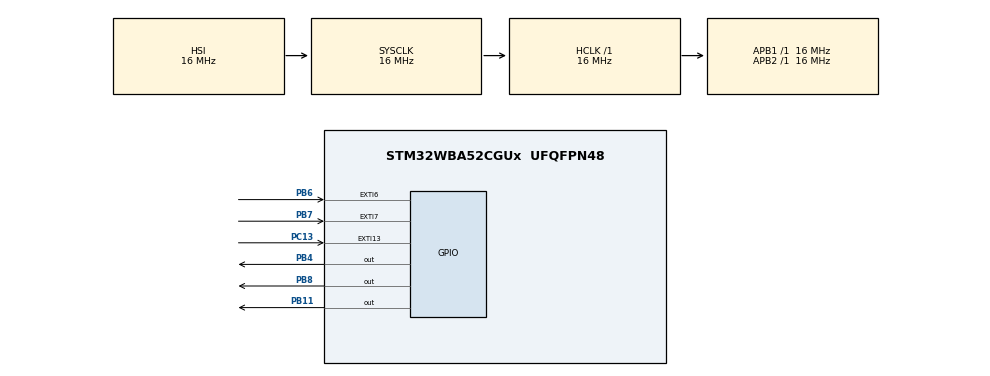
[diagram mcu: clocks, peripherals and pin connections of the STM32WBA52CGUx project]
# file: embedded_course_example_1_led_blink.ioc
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CORTEX_M33_NS.userName=CORTEX_M33
Mcu.Family=STM32WBA
Mcu.Name=STM32WBA52CGUx
Mcu.Package=UFQFPN48
NUCLEO-WBA52CG.BUTTON=1
NUCLEO-WBA52CG.BUTTON2=1
NUCLEO-WBA52CG.BUTTON3=1
NUCLEO-WBA52CG.Bsp_Common_DEMO=true
NUCLEO-WBA52CG.LD1=true
NUCLEO-WBA52CG.LD2=true
NUCLEO-WBA52CG.LD3=true
NUCLEO-WBA52CG.VCP=true
NVIC.EXTI13_IRQn=true\:0\:0\:false\:false\:true\:true\:true\:true
NVIC.EXTI6_IRQn=true\:0\:0\:false\:false\:true\:true\:true\:true
NVIC.EXTI7_IRQn=true\:0\:0\:false\:false\:true\:true\:true\:true
NVIC.PriorityGroup=NVIC_PRIORITYGROUP_4
OSC_IN.GPIO_Label=RCC_OSC_IN
OSC_IN.Signal=RCC_OSC_IN
OSC_OUT.GPIO_Label=RCC_OSC_OUT
OSC_OUT.Signal=RCC_OSC_OUT
PA13\ (JTMS/SWDIO).GPIO_Label=DEBUG_JTMS-SWDIO
PA13\ (JTMS/SWDIO).Signal=DEBUG_JTMS-SWDIO
PA14\ (JTCK/SWCLK).GPIO_Label=DEBUG_JTCK-SWCLK
PA14\ (JTCK/SWCLK).Signal=DEBUG_JTCK-SWCLK
PA8.Signal=USART1_RX
PB11.Signal=GPIO_Output
PB12.Signal=USART1_TX
PB4\ (NJTRST).Signal=GPIO_Output
PB6.Signal=GPXTI6
PB7.Signal=GPXTI7
PB8.Signal=GPIO_Output
PC13.Signal=GPXTI13
PC14-OSC32_IN.GPIO_Label=RCC_OSC32_IN
PC14-OSC32_IN.Signal=RCC_OSC32_IN
PC15-OSC32_OUT.GPIO_Label=RCC_OSC32_OUT
PC15-OSC32_OUT.Signal=RCC_OSC32_OUT
ProjectManager.HeapSize=0x200
ProjectManager.StackSize=0x400
ProjectManager.TargetToolchain=Makefile
RCC.ADCFreq_Value=16000000
RCC.AHBFreq_Value=16000000
RCC.APB1Freq_Value=16000000
RCC.APB1TimFreq_Value=16000000
RCC.APB2Freq_Value=16000000
RCC.APB2TimFreq_Value=16000000
RCC.CortexFreq_Value=2000000
RCC.HCLKFreq_Value=16000000
RCC.HSE_VALUE=32000000
RCC.HSI_VALUE=16000000
RCC.LSE_VALUE=32768
RCC.PWR_Regulator_Voltage_Scale=PWR_REGULATOR_VOLTAGE_SCALE1
RCC.SYSCLKFreq_VALUE=16000000
RCC.VCOOutputFreq_Value=2064000000
VP_ICACHE_VS_ICACHE.Mode=DirectMappedCache
VP_MEMORYMAP_VS_MEMORYMAP.Mode=CurAppReg
VP_NUCLEO-WBA52CG_VS_BSP_COMMON.Mode=COMMON
VP_PWR_VS_SECSignals.Mode=Security/Privilege
board=NUCLEO-WBA52CG

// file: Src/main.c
/* USER CODE BEGIN Header */
/**
 ******************************************************************************
 * @file           : main.c
 * @brief          : Main program body
 ******************************************************************************
 * @attention
 *
 * Copyright (c) 2025 STMicroelectronics.
 * All rights reserved.
 *
 * This software is licensed under terms that can be found in the LICENSE file
 * in the root directory of this software component.
 * If no LICENSE file comes with this software, it is provided AS-IS.
 *
 ******************************************************************************
 */
/* USER CODE END Header */
#include "main.h"
#include "icache.h"
#include "memorymap.h"
#include "gpio.h"
#include "stm32wbaxx_nucleo.h"

COM_InitTypeDef BspCOMInit;
static uint32_t delay = 250;

static counter = 0;

void SystemClock_Config(void);
/* USER CODE BEGIN PFP */
void xorLedBlue(void) {
  /* -- Sample board code to switch on/off blue led ---- */
  if (BSP_LED_GetState(LED_BLUE) == 1) {
    BSP_LED_Off(LED_BLUE);
  } else {
    BSP_LED_On(LED_BLUE);
  }
}

void xorLedGreen(void) {
  /* -- Sample board code to switch on/off green led ---- */
  if (BSP_LED_GetState(LED_GREEN) == 1) {
    BSP_LED_Off(LED_GREEN);
  } else {
    BSP_LED_On(LED_GREEN);
  }
}

void xorLedRed(void) {
  /* -- Sample board code to switch on/off red led ---- */
  if (BSP_LED_GetState(LED_RED) == 1) {
    BSP_LED_Off(LED_RED);
  } else {
    BSP_LED_On(LED_RED);
  }
}
/* USER CODE END PFP */

int main(void) {

  /* MCU Configuration--------------------------------------------------------*/

  /* Reset of all peripherals, Initializes the Flash interface and the Systick. */
  HAL_Init();

  /* Configure the system clock */
  SystemClock_Config();

  /* Initialize all configured peripherals */
  MX_GPIO_Init();
  MX_ICACHE_Init();

  /* Initialize leds */
  BSP_LED_Init(LED_BLUE);
  BSP_LED_Init(LED_GREEN);
  BSP_LED_Init(LED_RED);

  /* Initialize USER push-button, will be used to trigger an interrupt each time it's pressed.*/
  BSP_PB_Init(B1, BUTTON_MODE_EXTI);
  BSP_PB_Init(B2, BUTTON_MODE_EXTI);
  BSP_PB_Init(B3, BUTTON_MODE_EXTI);

  /* Initialize COM1 port (115200, 8 bits (7-bit data + 1 stop bit), no parity */
  BspCOMInit.BaudRate = 115200;
  BspCOMInit.WordLength = COM_WORDLENGTH_8B;
  BspCOMInit.StopBits = COM_STOPBITS_1;
  BspCOMInit.Parity = COM_PARITY_NONE;
  BspCOMInit.HwFlowCtl = COM_HWCONTROL_NONE;
  if (BSP_COM_Init(COM1, &BspCOMInit) != BSP_ERROR_NONE) {
    Error_Handler();
  }

  /* USER CODE BEGIN BSP */

  /* -- Sample board code to send message over COM1 port ---- */
  printf("Welcome to STM32 world !\n\r");

  /* -- Sample board code to switch on leds ---- */
  BSP_LED_On(LED_BLUE);
  BSP_LED_On(LED_GREEN);
  BSP_LED_On(LED_RED);

  /* USER CODE END BSP */

  /* Infinite loop */
  /* USER CODE BEGIN WHILE */
  while (1) {
    /* -- Sample board code for User push-button in interrupt mode ---- */
    BSP_LED_Toggle(LED_BLUE);
    HAL_Delay(delay);

    BSP_LED_Toggle(LED_GREEN);
    HAL_Delay(delay);

    BSP_LED_Toggle(LED_RED);
    HAL_Delay(delay);

    counter++;
    while (counter < 10) {
      counter++;
    }

    /* USER CODE END WHILE */

  }
}

void SystemClock_Config(void) {
  RCC_OscInitTypeDef RCC_OscInitStruct = {0};
  RCC_ClkInitTypeDef RCC_ClkInitStruct = {0};

  /** Configure the main internal regulator output voltage
   */
  if (HAL_PWREx_ControlVoltageScaling(PWR_REGULATOR_VOLTAGE_SCALE1) != HAL_OK) {
    Error_Handler();
  }

  /** Initializes the CPU, AHB and APB busses clocks
   */
  RCC_OscInitStruct.OscillatorType = RCC_OSCILLATORTYPE_HSI;
  RCC_OscInitStruct.HSIState = RCC_HSI_ON;
  RCC_OscInitStruct.HSICalibrationValue = RCC_HSICALIBRATION_DEFAULT;
  RCC_OscInitStruct.PLL1.PLLState = RCC_PLL_NONE;
  if (HAL_RCC_OscConfig(&RCC_OscInitStruct) != HAL_OK) {
    Error_Handler();
  }

  /** Initializes the CPU, AHB and APB busses clocks
   */
  RCC_ClkInitStruct.ClockType = RCC_CLOCKTYPE_HCLK | RCC_CLOCKTYPE_SYSCLK | RCC_CLOCKTYPE_PCLK1 | RCC_CLOCKTYPE_PCLK2 | RCC_CLOCKTYPE_PCLK7 | RCC_CLOCKTYPE_HCLK5;
  RCC_ClkInitStruct.SYSCLKSource = RCC_SYSCLKSOURCE_HSI;
  RCC_ClkInitStruct.AHBCLKDivider = RCC_SYSCLK_DIV1;
  RCC_ClkInitStruct.APB1CLKDivider = RCC_HCLK_DIV1;
  RCC_ClkInitStruct.APB2CLKDivider = RCC_HCLK_DIV1;
  RCC_ClkInitStruct.APB7CLKDivider = RCC_HCLK_DIV1;
  RCC_ClkInitStruct.AHB5_PLL1_CLKDivider = RCC_SYSCLK_PLL1_DIV1;
  RCC_ClkInitStruct.AHB5_HSEHSI_CLKDivider = RCC_SYSCLK_HSEHSI_DIV1;

  if (HAL_RCC_ClockConfig(&RCC_ClkInitStruct, FLASH_LATENCY_0) != HAL_OK) {
    Error_Handler();
  }
}

/**
 * @brief EXTI line detection callback.
 * @param GPIO_Pin: Specifies the pins connected EXTI line
 * @retval None
 */
void HAL_GPIO_EXTI_Falling_Callback(uint16_t GPIO_Pin) {
  switch (GPIO_Pin) {
    case B1_PIN:
      /* Change the period to 100 ms */
      delay = 100;
      break;
    case B2_PIN:
      /* Change the period to 500 ms */
      delay = 500;
      break;
    case B3_PIN:
      /* Change the period to 1000 ms */
      delay = 1000;
      break;
    default:
      break;
  }
}

void Error_Handler(void) {
  __disable_irq();
  while (1) {
  }
}
